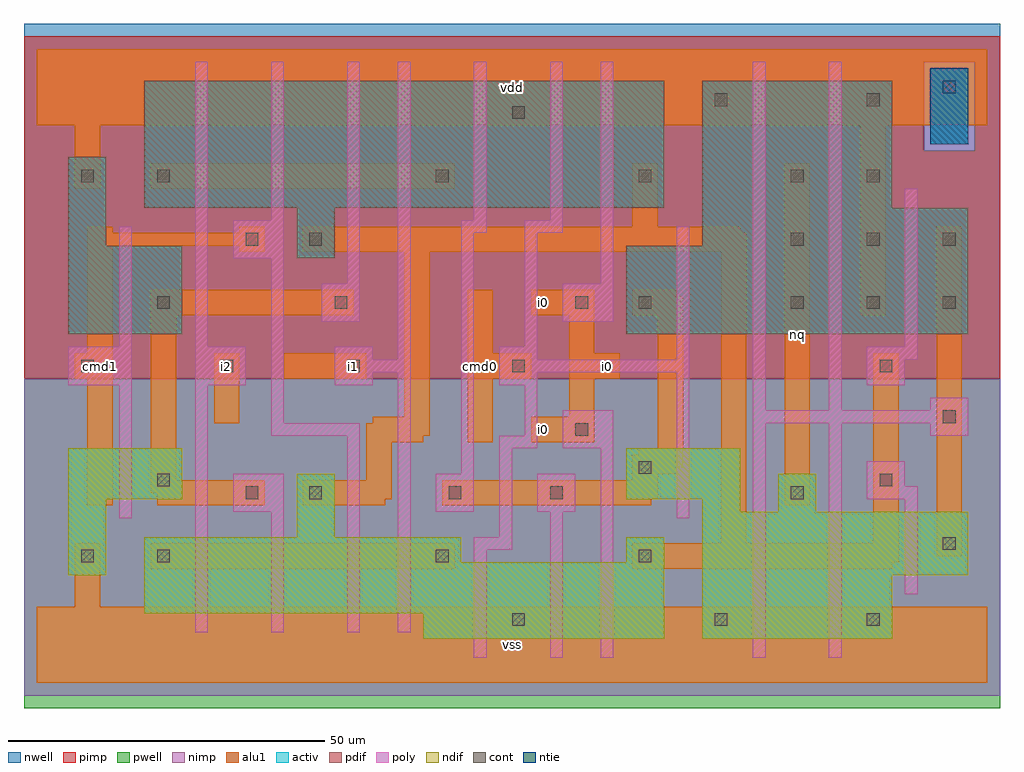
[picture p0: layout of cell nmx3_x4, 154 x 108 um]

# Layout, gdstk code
import gdstk
lib = gdstk.Library(unit=1e-6, precision=1e-09)
def R(c, l, rs):  # rectangles x0, y0, x1, y1
    for r in rs: c.add(gdstk.rectangle(r[:2], r[2:], *l))
def A(c, l, x, y, w, h, nx, ny, dx, dy):  # array of equal rectangles
    R(c, l, [(x+i*dx, y+j*dy, x+i*dx+w, y+j*dy+h) for i in range(nx) for j in range(ny)])
ndif = (3, 0)
pdif = (4, 0)
ntie = (5, 0)
cont = (25, 0)
pwell = (41, 0)
nwell = (42, 0)
activ = (43, 0)
pimp = (44, 0)
nimp = (45, 0)
poly = (46, 0)
alu1 = (49, 0)

nmx3_x4 = lib.new_cell('nmx3_x4')
R(nmx3_x4, ndif, [(61,7,99,11), (105,7,135,17), (17,11,99,19), (5,17,11,29), (105,17,147,27), (17,19,67,23), (93,19,99,23), (41,23,47,33), (105,27,111,29), (117,27,123,33), (5,29,23,37), (93,29,111,37)])
R(nmx3_x4, pdif, [(5,55,23,69), (93,55,147,69), (41,67,47,75), (5,69,11,83), (105,69,147,75), (17,75,99,95), (105,75,135,95)])
R(nmx3_x4, ntie, [(141,85,147,97)])
A(nmx3_x4, cont, 75, 9, 2, 2, 1, 3, 0, 40)
A(nmx3_x4, cont, 7, 19, 2, 2, 1, 3, 0, 30)
A(nmx3_x4, cont, 119, 59, 2, 2, 3, 2, 12, 10)
R(nmx3_x4, cont, [(107,9,109,11), (131,9,133,11), (19,19,21,21), (63,19,65,21), (95,19,97,21), (143,21,145,23), (33,29,35,31), (43,29,45,31), (65,29,67,31), (81,29,83,31), (119,29,121,31), (19,31,21,33), (133,31,135,33), (95,33,97,35), (85,39,87,41), (143,41,145,43), (29,49,31,51), (49,49,51,51), (133,49,135,51), (19,59,21,61), (47,59,49,61), (85,59,87,61), (95,59,97,61), (33,69,35,71), (43,69,45,71), (19,79,21,81), (63,79,65,81), (95,79,97,81), (119,79,121,81), (131,79,133,81), (107,91,109,93), (131,91,133,93), (143,93,145,95)])
R(nmx3_x4, pwell, [(-2,-4,152,48)])
R(nmx3_x4, nwell, [(-2,48,152,104)])
R(nmx3_x4, activ, [(61,7,99,11), (105,7,135,17), (17,11,99,19), (5,17,11,29), (105,17,147,27), (17,19,67,23), (93,19,99,23), (41,23,47,33), (105,27,111,29), (117,27,123,33), (5,29,23,37), (93,29,111,37), (5,55,23,69), (93,55,147,69), (41,67,47,75), (5,69,11,83), (105,69,147,75), (17,75,99,95), (105,75,135,95), (141,85,147,97)])
R(nmx3_x4, pimp, [(-2,48,152,84), (-2,84,140,98), (148,84,152,98), (-2,98,152,102)])
R(nmx3_x4, nimp, [(-2,-2,152,48), (140,84,148,98)])
R(nmx3_x4, poly, [(69,4,71,21), (81,4,83,27), (89,4,91,37), (113,4,115,41), (125,4,127,41), (25,8,27,47), (37,8,39,27), (49,8,51,39), (57,8,59,49), (137,14,139,29), (69,21,75,23), (73,23,75,37), (13,26,15,47), (101,26,103,49), (31,27,39,33), (63,27,69,33), (79,27,85,33), (131,29,139,31), (131,31,137,35), (67,33,69,71), (73,37,79,39), (83,37,91,43), (37,39,51,41), (77,39,79,47), (141,39,147,41), (37,41,39,67), (113,41,147,43), (113,43,115,98), (125,43,127,98), (141,43,147,45), (5,47,15,53), (25,47,33,53), (47,47,53,49), (73,47,79,49), (131,47,137,51), (47,49,59,51), (73,49,103,51), (47,51,53,53), (57,51,59,98), (73,51,79,53), (101,51,103,72), (131,51,139,53), (13,53,15,72), (25,53,27,98), (77,53,79,71), (137,53,139,78), (45,57,51,63), (83,57,91,63), (49,63,51,98), (89,63,91,98), (31,67,39,73), (67,71,71,73), (77,71,83,73), (37,73,39,98), (69,73,71,98), (81,73,83,98)])
R(nmx3_x4, alu1, [(0,0,150,12), (6,12,10,22), (18,18,66,22), (94,18,135,19), (94,19,136,22), (142,20,146,72), (108,22,112,68), (132,22,136,52), (8,28,12,48), (19,28,36,30), (42,28,55,29), (64,28,97,29), (118,28,122,82), (42,29,56,32), (64,29,98,32), (18,30,36,32), (18,32,22,58), (52,32,56,38), (94,32,98,33), (94,33,101,34), (94,34,102,36), (95,36,102,37), (98,37,102,58), (52,38,61,39), (68,38,72,48), (78,38,88,42), (52,39,62,41), (28,41,32,52), (53,41,62,42), (58,42,62,68), (84,42,88,48), (6,48,12,52), (39,48,52,52), (68,48,78,52), (84,48,92,52), (8,52,12,69), (68,52,72,62), (84,52,88,58), (18,58,50,62), (78,58,88,62), (94,58,102,61), (130,58,134,88), (94,61,101,62), (32,68,36,69), (42,68,112,71), (8,69,36,71), (8,71,12,72), (32,71,36,72), (42,71,111,72), (94,72,98,82), (6,78,10,88), (18,78,66,82), (0,88,150,100)])
nmx3_x4.add(gdstk.Label('cmd1', (10,50), layer=49, texttype=0))
nmx3_x4.add(gdstk.Label('i2', (30,50), layer=49, texttype=0))
nmx3_x4.add(gdstk.Label('i1', (50,50), layer=49, texttype=0))
nmx3_x4.add(gdstk.Label('vss', (75,6), layer=49, texttype=0))
nmx3_x4.add(gdstk.Label('i0', (80,40), layer=49, texttype=0))
nmx3_x4.add(gdstk.Label('cmd0', (70,50), layer=49, texttype=0))
nmx3_x4.add(gdstk.Label('i0', (80,60), layer=49, texttype=0))
nmx3_x4.add(gdstk.Label('vdd', (75,94), layer=49, texttype=0))
nmx3_x4.add(gdstk.Label('i0', (90,50), layer=49, texttype=0))
nmx3_x4.add(gdstk.Label('nq', (120,55), layer=49, texttype=0))

lib.write_gds('nmx3_x4.gds')
